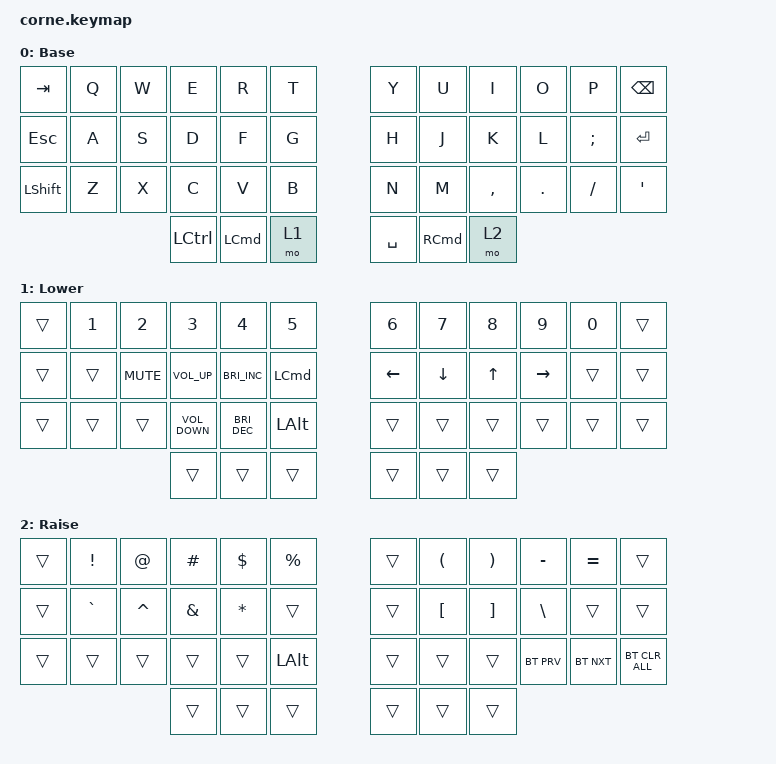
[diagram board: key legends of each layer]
/*
 * Copyright (c) 2020 The ZMK Contributors
 *
 * SPDX-License-Identifier: MIT
 */

#include <behaviors.dtsi>
#include <dt-bindings/zmk/bt.h>
#include <dt-bindings/zmk/keys.h>

/ {
    keymap {
        compatible = "zmk,keymap";

        default_layer {
            // -----------------------------------------------------------------------------------------
            // |  TAB |  Q  |  W  |  E  |  R  |  T  |   |  Y  |  U   |  I  |  O  |  P  | BKSP |
            // | CTRL |  A  |  S  |  D  |  F  |  G  |   |  H  |  J   |  K  |  L  |  ;  |  '   |
            // | SHFT |  Z  |  X  |  C  |  V  |  B  |   |  N  |  M   |  ,  |  .  |  /  | ESC  |
            //                    | GUI | LWR | SPC |   | ENT | RSE  | ALT |

            display-name = "Base";
            bindings = <
&kp TAB         &kp Q  &kp W  &kp E             &kp R             &kp T    &kp Y      &kp U              &kp I      &kp O    &kp P     &kp BACKSPACE
&kp ESCAPE      &kp A  &kp S  &kp D             &kp F             &kp G    &kp H      &kp J              &kp K      &kp L    &kp SEMI  &kp ENTER
&kp LEFT_SHIFT  &kp Z  &kp X  &kp C             &kp V             &kp B    &kp N      &kp M              &kp COMMA  &kp DOT  &kp FSLH  &kp SQT
                              &kp LEFT_CONTROL  &kp LEFT_COMMAND  &mo 1    &kp SPACE  &kp RIGHT_COMMAND  &mo 2
            >;
        };

        lower_layer {
            // -----------------------------------------------------------------------------------------
            // |  TAB |  1  |  2  |  3  |  4  |  5  |   |  6  |  7  |  8  |  9  |  0  | BKSP |
            // | BTCLR| BT1 | BT2 | BT3 | BT4 | BT5 |   | LFT | DWN |  UP | RGT |     |      |
            // | SHFT |     |     |     |     |     |   |     |     |     |     |     |      |
            //                    | GUI |     | SPC |   | ENT |     | ALT |

            display-name = "Lower";
            bindings = <
&trans  &kp N1  &kp N2      &kp N3             &kp N4                &kp N5              &kp N6    &kp N7    &kp N8  &kp N9     &kp N0  &trans
&trans  &trans  &kp K_MUTE  &kp C_VOLUME_UP    &kp C_BRIGHTNESS_INC  &kp LEFT_COMMAND    &kp LEFT  &kp DOWN  &kp UP  &kp RIGHT  &trans  &trans
&trans  &trans  &trans      &kp C_VOLUME_DOWN  &kp C_BRIGHTNESS_DEC  &kp LEFT_ALT        &trans    &trans    &trans  &trans     &trans  &trans
                            &trans             &trans                &trans              &trans    &trans    &trans
            >;
        };

        raise_layer {
            // -----------------------------------------------------------------------------------------
            // |  TAB |  !  |  @  |  #  |  $  |  %  |   |  ^  |  &  |  *  |  (  |  )  | BKSP |
            // | CTRL |     |     |     |     |     |   |  -  |  =  |  [  |  ]  |  \  |  `   |
            // | SHFT |     |     |     |     |     |   |  _  |  +  |  {  |  }  | "|" |  ~   |
            //                    | GUI |     | SPC |   | ENT |     | ALT |

            display-name = "Raise";
            bindings = <
&trans  &kp EXCLAMATION  &kp AT_SIGN  &kp POUND  &kp DOLLAR  &kp PERCENT     &trans  &kp LEFT_PARENTHESIS  &kp RIGHT_PARENTHESIS  &kp MINUS      &kp EQUAL   &trans
&trans  &kp GRAVE        &kp CARET    &kp AMPS   &kp STAR    &trans          &trans  &kp LEFT_BRACKET      &kp RIGHT_BRACKET      &kp BACKSLASH  &trans      &trans
&trans  &trans           &trans       &trans     &trans      &kp LEFT_ALT    &trans  &trans                &trans                 &bt BT_PRV     &bt BT_NXT  &bt BT_CLR_ALL
                                      &trans     &trans      &trans          &trans  &trans                &trans
            >;
        };
    };
};
